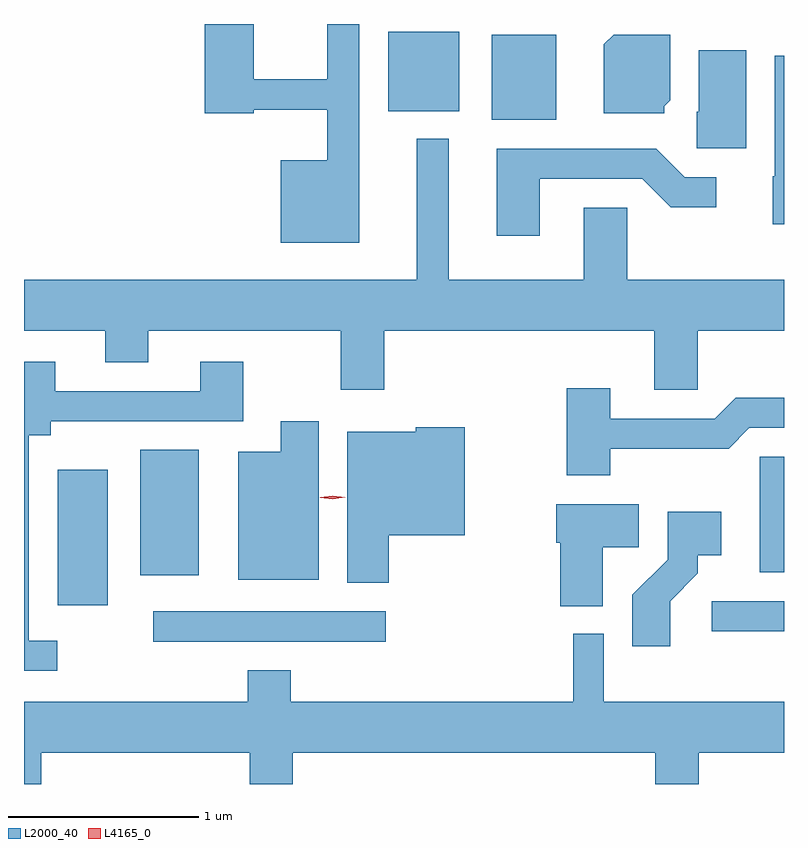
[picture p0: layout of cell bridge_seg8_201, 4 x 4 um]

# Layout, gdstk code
import gdstk
lib = gdstk.Library(unit=1e-6, precision=1e-09)
def R(c, l, rs):  # rectangles x0, y0, x1, y1
    for r in rs: c.add(gdstk.rectangle(r[:2], r[2:], *l))
def P(c, l, *ps):  # polygons
    for p in ps: c.add(gdstk.Polygon(p, *l))
L2000_40 = (2000, 40)
L4165_0 = (4165, 0)

bridge_seg8_201 = lib.new_cell('bridge_seg8_201')
R(bridge_seg8_201, L2000_40, [(1209.923,1903.601,1211.148,1903.759), (1212.863,1903.656,1213.244,1903.814), (1209.421,1903.791,1209.684,1904.504), (1209.856,1903.951,1210.164,1904.609), (1213.116,1903.966,1213.244,1904.574), (1211.706,1906.346,1212.044,1906.794), (1211.161,1906.391,1211.534,1906.809)])
P(bridge_seg8_201, L2000_40, [(1211.009,1906.851),(1210.841,1906.851),(1210.841,1906.559),(1210.454,1906.559),(1210.454,1906.851),(1210.196,1906.851),(1210.196,1906.381),(1210.454,1906.381),(1210.454,1906.401),(1210.841,1906.401),(1210.841,1906.134),(1210.596,1906.134),(1210.596,1905.701),(1211.009,1905.701)],
  [(1212.614,1906.419),(1212.644,1906.449),(1212.644,1906.794),(1212.347,1906.794),(1212.296,1906.744),(1212.296,1906.381),(1212.614,1906.381)],
  [(1213.044,1906.714),(1212.796,1906.714),(1212.796,1906.39),(1212.786,1906.39),(1212.786,1906.196),(1213.044,1906.196)],
  [(1213.244,1906.684),(1213.196,1906.684),(1213.196,1906.05),(1213.186,1906.05),(1213.186,1905.796),(1213.244,1905.796)],
  [(1211.139,1905.236),(1212.561,1905.236),(1212.561,1904.926),(1212.789,1904.926),(1212.789,1905.236),(1213.244,1905.236),(1213.244,1905.504),(1212.419,1905.504),(1212.419,1905.884),(1212.191,1905.884),(1212.191,1905.504),(1211.479,1905.504),(1211.479,1906.248),(1211.311,1906.248),(1211.311,1905.504),(1209.244,1905.504),(1209.244,1905.236),(1209.671,1905.236),(1209.671,1905.071),(1209.899,1905.071),(1209.899,1905.236),(1210.911,1905.236),(1210.911,1904.926),(1211.139,1904.926)],
  [(1211.959,1906.036),(1212.499,1906.036),(1212.649,1905.886),(1212.888,1905.886),(1212.888,1906.044),(1212.722,1906.044),(1212.572,1906.194),(1211.731,1906.194),(1211.731,1905.736),(1211.959,1905.736)],
  [(1209.418,1903.604),(1209.269,1903.604),(1209.269,1904.686),(1209.384,1904.686),(1209.384,1904.761),(1210.399,1904.761),(1210.399,1905.074),(1210.171,1905.074),(1210.171,1904.919),(1209.409,1904.919),(1209.409,1905.074),(1209.244,1905.074),(1209.244,1903.446),(1209.418,1903.446)],
  [(1212.329,1904.616),(1212.952,1904.616),(1213.062,1904.726),(1213.244,1904.726),(1213.244,1904.884),(1212.989,1904.884),(1212.879,1904.774),(1212.329,1904.774),(1212.329,1904.934),(1212.101,1904.934),(1212.101,1904.476),(1212.329,1904.476)],
  [(1210.794,1904.759),(1210.596,1904.759),(1210.596,1904.599),(1210.371,1904.599),(1210.371,1903.926),(1210.794,1903.926)],
  [(1211.164,1904.161),(1211.564,1904.161),(1211.564,1904.729),(1211.306,1904.729),(1211.306,1904.704),(1210.946,1904.704),(1210.946,1903.911),(1211.164,1903.911)],
  [(1212.289,1904.096),(1212.479,1904.096),(1212.479,1904.324),(1212.046,1904.324),(1212.046,1904.121),(1212.066,1904.121),(1212.066,1903.786),(1212.289,1903.786)],
  [(1212.644,1903.814),(1212.789,1903.959),(1212.789,1904.056),(1212.914,1904.056),(1212.914,1904.284),(1212.631,1904.284),(1212.631,1904.032),(1212.446,1903.847),(1212.446,1903.576),(1212.644,1903.576)],
  [(1209.334,1903.016),(1210.431,1903.016),(1210.431,1902.851),(1210.659,1902.851),(1210.659,1903.016),(1212.566,1903.016),(1212.566,1902.851),(1212.794,1902.851),(1212.794,1903.016),(1213.244,1903.016),(1213.244,1903.284),(1212.294,1903.284),(1212.294,1903.643),(1212.136,1903.643),(1212.136,1903.284),(1210.649,1903.284),(1210.649,1903.449),(1210.421,1903.449),(1210.421,1903.284),(1209.244,1903.284),(1209.244,1902.851),(1209.334,1902.851)])
P(bridge_seg8_201, L4165_0, [(1210.87,1904.349),(1210.804,1904.358),(1210.803,1904.358),(1210.804,1904.359),(1210.869,1904.369),(1210.936,1904.36),(1210.936,1904.36),(1210.936,1904.359)])

lib.write_gds('bridge_seg8_201.gds')
